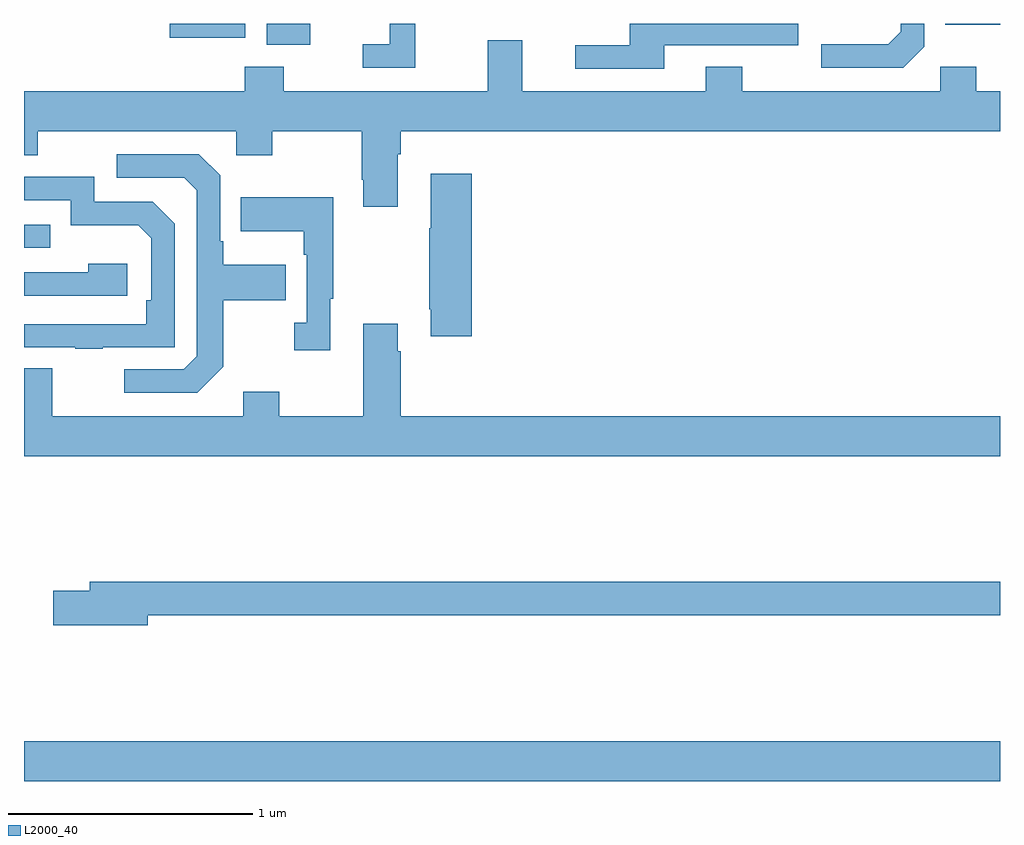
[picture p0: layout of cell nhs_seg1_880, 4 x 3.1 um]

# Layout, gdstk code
import gdstk
lib = gdstk.Library(unit=1e-6, precision=1e-09)
def R(c, l, rs):  # rectangles x0, y0, x1, y1
    for r in rs: c.add(gdstk.rectangle(r[:2], r[2:], *l))
def P(c, l, *ps):  # polygons
    for p in ps: c.add(gdstk.Polygon(p, *l))
L2000_40 = (2000, 40)

nhs_seg1_880 = lib.new_cell('nhs_seg1_880')
R(nhs_seg1_880, L2000_40, [(159,521.096,163,521.26), (159,523.281,159.107,523.377), (159.995,524.114,160.174,524.199), (159.597,524.143,159.906,524.199), (162.775,524.195,163,524.199)])
P(nhs_seg1_880, L2000_40, [(161.623,524.112),(162.174,524.112),(162.174,524.199),(161.483,524.199),(161.483,524.112),(161.259,524.112),(161.259,524.016),(161.623,524.016)],
  [(162.69,524.106),(162.69,524.199),(162.594,524.199),(162.594,524.166),(162.543,524.115),(162.267,524.115),(162.267,524.019),(162.603,524.019)],
  [(160.603,524.199),(160.499,524.199),(160.499,524.115),(160.389,524.115),(160.389,524.019),(160.603,524.019)],
  [(160.531,523.664),(160.544,523.664),(160.544,523.76),(163,523.76),(163,523.924),(162.903,523.924),(162.903,524.023),(162.756,524.023),(162.756,523.924),(161.943,523.924),(161.943,524.023),(161.795,524.023),(161.795,523.924),(161.041,523.924),(161.041,524.132),(160.901,524.132),(160.901,523.924),(160.065,523.924),(160.065,524.023),(159.905,524.023),(159.905,523.924),(159,523.924),(159,523.661),(159.057,523.661),(159.057,523.76),(159.87,523.76),(159.87,523.661),(160.017,523.661),(160.017,523.76),(160.384,523.76),(160.384,523.561),(160.391,523.561),(160.391,523.449),(160.531,523.449)],
  [(159.817,522.793),(159.817,523.066),(160.073,523.066),(160.073,523.213),(159.817,523.213),(159.817,523.309),(159.804,523.309),(159.804,523.578),(159.717,523.665),(159.381,523.665),(159.381,523.569),(159.657,523.569),(159.708,523.518),(159.708,522.837),(159.654,522.783),(159.411,522.783),(159.411,522.687),(159.711,522.687)],
  [(160.835,523.585),(160.667,523.585),(160.667,523.361),(160.66,523.361),(160.66,523.03),(160.667,523.03),(160.667,522.918),(160.835,522.918)],
  [(159.323,522.873),(159.618,522.873),(159.618,523.38),(159.528,523.47),(159.288,523.47),(159.288,523.572),(159,523.572),(159,523.476),(159.192,523.476),(159.192,523.373),(159.469,523.373),(159.522,523.32),(159.522,523.066),(159.502,523.066),(159.502,522.969),(159,522.969),(159,522.873),(159.211,522.873),(159.211,522.868),(159.323,522.868)],
  [(160.255,523.073),(160.267,523.073),(160.267,523.489),(159.889,523.489),(159.889,523.349),(160.146,523.349),(160.146,523.253),(160.158,523.253),(160.158,522.974),(160.107,522.974),(160.107,522.861),(160.255,522.861)],
  [(159.424,523.216),(159.263,523.216),(159.263,523.182),(159,523.182),(159,523.086),(159.424,523.086)],
  [(163,522.592),(160.544,522.592),(160.544,522.857),(160.531,522.857),(160.531,522.97),(160.391,522.97),(160.391,522.592),(160.047,522.592),(160.047,522.691),(159.899,522.691),(159.899,522.592),(159.115,522.592),(159.115,522.787),(159,522.787),(159,522.428),(163,522.428)],
  [(159.508,521.776),(163,521.776),(163,521.912),(159.269,521.912),(159.269,521.876),(159.12,521.876),(159.12,521.734),(159.508,521.734)])

lib.write_gds('nhs_seg1_880.gds')
